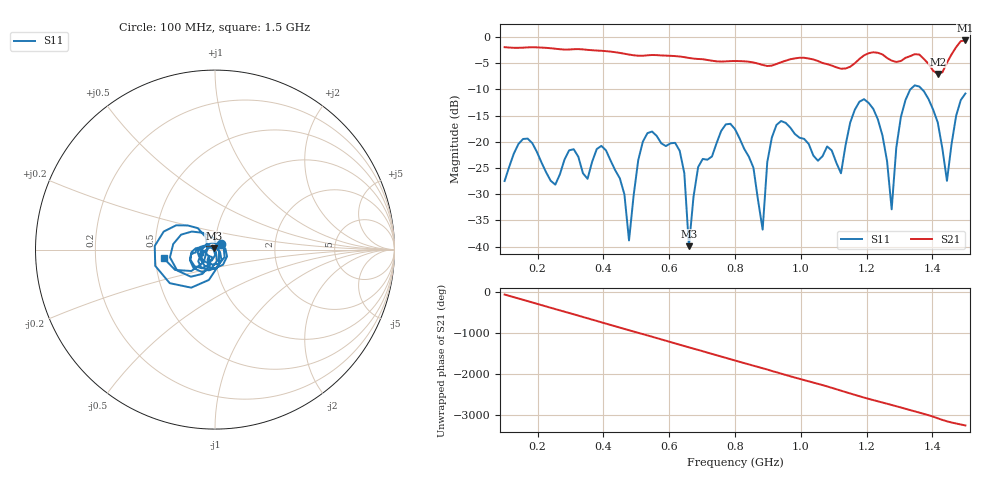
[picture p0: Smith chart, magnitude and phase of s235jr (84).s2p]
! NanoVNA-App
! Date: 2025-09-25 15:04:49
! Start: 100MHz Stop: 1,5GHz Points: 101
! S-Parameter data: F S11 S21 S12 S22
# Hz S RI R 50
!  Frequency  S11_Real  S11_Imag  S21_Real  S21_Imag  S12_Real  S12_Imag  S22_Real  S22_Imag
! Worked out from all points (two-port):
!   101 points, 100 MHz to 1.5 GHz, reference 50 ohm
!   highest |S21| = -0.68 dB at 1.5 GHz (marker M1); lowest = -7.1 dB at 1.416 GHz (marker M2)
!   |S21| within 3 dB of the highest: start of sweep to 621.5 MHz; 1.189 GHz to 1.255 GHz (66.09 MHz wide, 5.41 % of centre) (the widest 2 of 4)
!   lowest |S11| = -39.9 dB at 660 MHz (marker M3), VSWR 1.02, Z = 49.2 + j0.662 ohm
!   |S11| at or under -10 dB: start of sweep to 1.333 GHz; 1.368 GHz to end of sweep
!   S12 and S22 are empty: the file has one direction only
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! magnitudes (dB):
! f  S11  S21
! 100 MHz  -27.5  -2.0
! 156 MHz  -19.5  -2.1
! 338 MHz  -26.0  -2.4
! 408 MHz  -21.6  -2.7
! 478 MHz  -38.8  -3.4
! 520 MHz  -20.0  -3.6
! 576 MHz  -20.3  -3.5
! 632 MHz  -21.7  -3.7
! 660 MHz  -39.9  -4.0
! 688 MHz  -24.8  -4.2
! 800 MHz  -17.6  -4.6
! 884 MHz  -36.7  -5.3
! 926 MHz  -16.8  -5.2
! 1.038 GHz  -22.6  -4.3
! 1.122 GHz  -26.0  -6.1
! 1.192 GHz  -11.9  -3.5
! 1.248 GHz  -18.8  -3.3
! 1.276 GHz  -32.9  -4.5
! 1.332 GHz  -10.1  -3.7
! 1.416 GHz  -16.3  -7.1
! 1.444 GHz  -27.4  -4.9
! 1.5 GHz  -10.8  -0.7
